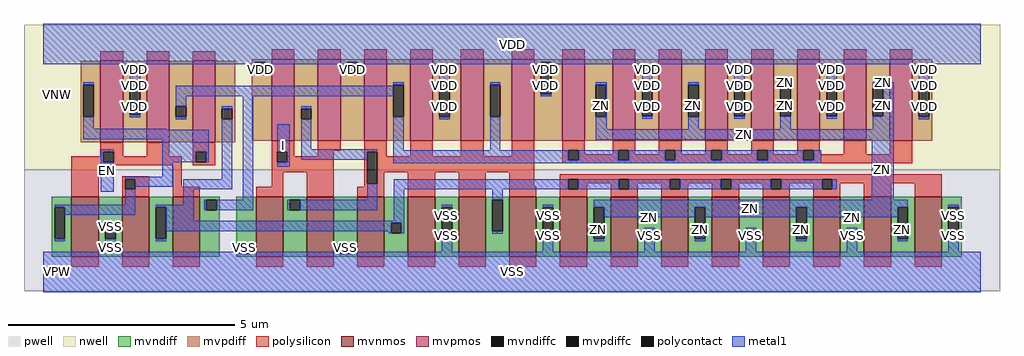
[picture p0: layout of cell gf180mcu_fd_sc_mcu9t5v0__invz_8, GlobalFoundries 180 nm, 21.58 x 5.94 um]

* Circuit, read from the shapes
.subckt gf180mcu_fd_sc_mcu9t5v0__invz_8 EN I ZN VDD VNW VPW VSS
XM1 VSS EN n1 VPW nfet_06v0 w=1.32u l=0.6u
XM2 n2 n1 VSS VPW nfet_06v0 w=1.32u l=0.6u
XM3 n3 EN n2 VPW nfet_06v0 w=1.32u l=0.6u
XM4 n4 I VSS VPW nfet_06v0 w=1.32u l=0.6u m=2
XM5 n2 n4 VSS VPW nfet_06v0 w=1.32u l=0.6u m=4
XM6 ZN n2 VSS VPW nfet_06v0 w=1.32u l=0.6u m=8
XM7 VDD EN n1 VNW pfet_06v0 w=1.8u l=0.5u
XM8 n3 EN VDD VNW pfet_06v0 w=1.8u l=0.5u
XM9 n2 n1 n3 VNW pfet_06v0 w=1.8u l=0.5u
XM10 n4 I VDD VNW pfet_06v0 w=1.8u l=0.5u m=2
XM11 n3 n4 VDD VNW pfet_06v0 w=1.8u l=0.5u m=4
XM12 ZN n3 VDD VNW pfet_06v0 w=1.8u l=0.5u m=8
.ends

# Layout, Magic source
magic
tech gf180mcuD
magscale 1 10
<< nwell >>
rect -86 453 4230 1094
<< pwell >>
rect -86 -86 4230 453
<< mvnmos >>
rect 124 68 244 332
rect 348 68 468 332
rect 572 68 692 332
rect 940 68 1060 332
rect 1164 68 1284 332
rect 1388 68 1508 332
rect 1612 68 1732 332
rect 1836 68 1956 332
rect 2060 68 2180 332
rect 2284 68 2404 332
rect 2508 68 2628 332
rect 2732 68 2852 332
rect 2956 68 3076 332
rect 3180 68 3300 332
rect 3404 68 3524 332
rect 3628 68 3748 332
rect 3852 68 3972 332
<< mvpmos >>
rect 252 573 352 933
rect 456 573 556 933
rect 660 573 760 933
rect 1010 580 1110 940
rect 1214 580 1314 940
rect 1418 580 1518 940
rect 1622 580 1722 940
rect 1846 580 1946 940
rect 2070 580 2170 940
rect 2294 580 2394 940
rect 2518 580 2618 940
rect 2722 580 2822 940
rect 2926 580 3026 940
rect 3130 580 3230 940
rect 3334 580 3434 940
rect 3538 580 3638 940
rect 3742 580 3842 940
<< mvndiff >>
rect 36 287 124 332
rect 36 147 49 287
rect 95 147 124 287
rect 36 68 124 147
rect 244 193 348 332
rect 244 147 273 193
rect 319 147 348 193
rect 244 68 348 147
rect 468 287 572 332
rect 468 147 497 287
rect 543 147 572 287
rect 468 68 572 147
rect 692 319 780 332
rect 692 273 721 319
rect 767 273 780 319
rect 692 68 780 273
rect 852 127 940 332
rect 852 81 865 127
rect 911 81 940 127
rect 852 68 940 81
rect 1060 319 1164 332
rect 1060 273 1089 319
rect 1135 273 1164 319
rect 1060 68 1164 273
rect 1284 127 1388 332
rect 1284 81 1313 127
rect 1359 81 1388 127
rect 1284 68 1388 81
rect 1508 217 1612 332
rect 1508 171 1537 217
rect 1583 171 1612 217
rect 1508 68 1612 171
rect 1732 287 1836 332
rect 1732 147 1761 287
rect 1807 147 1836 287
rect 1732 68 1836 147
rect 1956 319 2060 332
rect 1956 179 1985 319
rect 2031 179 2060 319
rect 1956 68 2060 179
rect 2180 287 2284 332
rect 2180 147 2209 287
rect 2255 147 2284 287
rect 2180 68 2284 147
rect 2404 287 2508 332
rect 2404 147 2433 287
rect 2479 147 2508 287
rect 2404 68 2508 147
rect 2628 185 2732 332
rect 2628 139 2657 185
rect 2703 139 2732 185
rect 2628 68 2732 139
rect 2852 287 2956 332
rect 2852 147 2881 287
rect 2927 147 2956 287
rect 2852 68 2956 147
rect 3076 185 3180 332
rect 3076 139 3105 185
rect 3151 139 3180 185
rect 3076 68 3180 139
rect 3300 287 3404 332
rect 3300 147 3329 287
rect 3375 147 3404 287
rect 3300 68 3404 147
rect 3524 185 3628 332
rect 3524 139 3553 185
rect 3599 139 3628 185
rect 3524 68 3628 139
rect 3748 287 3852 332
rect 3748 147 3777 287
rect 3823 147 3852 287
rect 3748 68 3852 147
rect 3972 287 4060 332
rect 3972 147 4001 287
rect 4047 147 4060 287
rect 3972 68 4060 147
<< mvpdiff >>
rect 164 827 252 933
rect 164 687 177 827
rect 223 687 252 827
rect 164 573 252 687
rect 352 835 456 933
rect 352 695 381 835
rect 427 695 456 835
rect 352 573 456 695
rect 556 733 660 933
rect 556 687 585 733
rect 631 687 660 733
rect 556 573 660 687
rect 760 721 848 933
rect 760 675 789 721
rect 835 675 848 721
rect 760 573 848 675
rect 922 927 1010 940
rect 922 881 935 927
rect 981 881 1010 927
rect 922 580 1010 881
rect 1110 721 1214 940
rect 1110 675 1139 721
rect 1185 675 1214 721
rect 1110 580 1214 675
rect 1314 927 1418 940
rect 1314 881 1343 927
rect 1389 881 1418 927
rect 1314 580 1418 881
rect 1518 827 1622 940
rect 1518 687 1547 827
rect 1593 687 1622 827
rect 1518 580 1622 687
rect 1722 827 1846 940
rect 1722 687 1751 827
rect 1797 687 1846 827
rect 1722 580 1846 687
rect 1946 827 2070 940
rect 1946 687 1975 827
rect 2021 687 2070 827
rect 1946 580 2070 687
rect 2170 927 2294 940
rect 2170 787 2199 927
rect 2245 787 2294 927
rect 2170 580 2294 787
rect 2394 827 2518 940
rect 2394 687 2443 827
rect 2489 687 2518 827
rect 2394 580 2518 687
rect 2618 828 2722 940
rect 2618 688 2647 828
rect 2693 688 2722 828
rect 2618 580 2722 688
rect 2822 827 2926 940
rect 2822 687 2851 827
rect 2897 687 2926 827
rect 2822 580 2926 687
rect 3026 828 3130 940
rect 3026 688 3055 828
rect 3101 688 3130 828
rect 3026 580 3130 688
rect 3230 828 3334 940
rect 3230 688 3259 828
rect 3305 688 3334 828
rect 3230 580 3334 688
rect 3434 828 3538 940
rect 3434 688 3463 828
rect 3509 688 3538 828
rect 3434 580 3538 688
rect 3638 828 3742 940
rect 3638 688 3667 828
rect 3713 688 3742 828
rect 3638 580 3742 688
rect 3842 827 3930 940
rect 3842 687 3871 827
rect 3917 687 3930 827
rect 3842 580 3930 687
<< mvndiffc >>
rect 49 147 95 287
rect 273 147 319 193
rect 497 147 543 287
rect 721 273 767 319
rect 865 81 911 127
rect 1089 273 1135 319
rect 1313 81 1359 127
rect 1537 171 1583 217
rect 1761 147 1807 287
rect 1985 179 2031 319
rect 2209 147 2255 287
rect 2433 147 2479 287
rect 2657 139 2703 185
rect 2881 147 2927 287
rect 3105 139 3151 185
rect 3329 147 3375 287
rect 3553 139 3599 185
rect 3777 147 3823 287
rect 4001 147 4047 287
<< mvpdiffc >>
rect 177 687 223 827
rect 381 695 427 835
rect 585 687 631 733
rect 789 675 835 721
rect 935 881 981 927
rect 1139 675 1185 721
rect 1343 881 1389 927
rect 1547 687 1593 827
rect 1751 687 1797 827
rect 1975 687 2021 827
rect 2199 787 2245 927
rect 2443 687 2489 827
rect 2647 688 2693 828
rect 2851 687 2897 827
rect 3055 688 3101 828
rect 3259 688 3305 828
rect 3463 688 3509 828
rect 3667 688 3713 828
rect 3871 687 3917 827
<< polysilicon >>
rect 252 933 352 977
rect 456 933 556 977
rect 660 933 760 977
rect 1010 940 1110 984
rect 1214 940 1314 984
rect 1418 940 1518 984
rect 1622 940 1722 984
rect 1846 940 1946 984
rect 2070 940 2170 984
rect 2294 940 2394 984
rect 2518 940 2618 984
rect 2722 940 2822 984
rect 2926 940 3026 984
rect 3130 940 3230 984
rect 3334 940 3434 984
rect 3538 940 3638 984
rect 3742 940 3842 984
rect 252 531 352 573
rect 252 512 265 531
rect 124 485 265 512
rect 311 512 352 531
rect 456 512 556 573
rect 660 531 760 573
rect 311 485 612 512
rect 124 472 612 485
rect 660 485 673 531
rect 719 485 760 531
rect 660 472 760 485
rect 1010 531 1110 580
rect 1010 485 1033 531
rect 1079 512 1110 531
rect 1214 536 1314 580
rect 1214 512 1284 536
rect 1079 485 1284 512
rect 124 332 244 472
rect 348 411 468 424
rect 348 365 361 411
rect 407 365 468 411
rect 348 332 468 365
rect 572 376 612 472
rect 1010 440 1284 485
rect 1010 376 1060 440
rect 572 332 692 376
rect 940 332 1060 376
rect 1164 332 1284 440
rect 1418 531 1518 580
rect 1418 391 1431 531
rect 1477 512 1518 531
rect 1622 512 1722 580
rect 1846 512 1946 580
rect 2070 512 2170 580
rect 1477 440 2170 512
rect 2294 539 2394 580
rect 2294 493 2321 539
rect 2367 520 2394 539
rect 2518 539 2618 580
rect 2518 520 2542 539
rect 2367 493 2542 520
rect 2588 520 2618 539
rect 2722 539 2822 580
rect 2722 520 2749 539
rect 2588 493 2749 520
rect 2795 520 2822 539
rect 2926 539 3026 580
rect 2926 520 2953 539
rect 2795 493 2953 520
rect 2999 520 3026 539
rect 3130 539 3230 580
rect 3130 520 3157 539
rect 2999 493 3157 520
rect 3203 520 3230 539
rect 3334 539 3434 580
rect 3334 520 3360 539
rect 3203 493 3360 520
rect 3406 520 3434 539
rect 3538 520 3638 580
rect 3742 520 3842 580
rect 3406 493 3842 520
rect 2294 480 3842 493
rect 1477 391 1508 440
rect 1418 376 1508 391
rect 1388 332 1508 376
rect 1612 332 1732 440
rect 1836 332 1956 440
rect 2060 376 2170 440
rect 2284 411 3972 432
rect 2060 332 2180 376
rect 2284 365 2320 411
rect 2366 392 2543 411
rect 2366 365 2404 392
rect 2284 332 2404 365
rect 2508 365 2543 392
rect 2589 392 2770 411
rect 2589 365 2628 392
rect 2508 332 2628 365
rect 2732 365 2770 392
rect 2816 392 2996 411
rect 2816 365 2852 392
rect 2732 332 2852 365
rect 2956 365 2996 392
rect 3042 392 3217 411
rect 3042 365 3076 392
rect 2956 332 3076 365
rect 3180 365 3217 392
rect 3263 392 3443 411
rect 3263 365 3300 392
rect 3180 332 3300 365
rect 3404 365 3443 392
rect 3489 392 3972 411
rect 3489 365 3524 392
rect 3404 332 3524 365
rect 3628 332 3748 392
rect 3852 332 3972 392
rect 124 24 244 68
rect 348 24 468 68
rect 572 24 692 68
rect 940 24 1060 68
rect 1164 24 1284 68
rect 1388 24 1508 68
rect 1612 24 1732 68
rect 1836 24 1956 68
rect 2060 24 2180 68
rect 2284 24 2404 68
rect 2508 24 2628 68
rect 2732 24 2852 68
rect 2956 24 3076 68
rect 3180 24 3300 68
rect 3404 24 3524 68
rect 3628 24 3748 68
rect 3852 24 3972 68
<< polycontact >>
rect 265 485 311 531
rect 673 485 719 531
rect 1033 485 1079 531
rect 361 365 407 411
rect 1431 391 1477 531
rect 2321 493 2367 539
rect 2542 493 2588 539
rect 2749 493 2795 539
rect 2953 493 2999 539
rect 3157 493 3203 539
rect 3360 493 3406 539
rect 2320 365 2366 411
rect 2543 365 2589 411
rect 2770 365 2816 411
rect 2996 365 3042 411
rect 3217 365 3263 411
rect 3443 365 3489 411
<< metal1 >>
rect 0 927 4144 1098
rect 0 918 935 927
rect 177 827 223 838
rect 177 634 223 687
rect 381 835 427 918
rect 981 918 1343 927
rect 935 870 981 881
rect 1389 918 2199 927
rect 1343 870 1389 881
rect 1547 827 1593 838
rect 381 684 427 695
rect 585 778 1547 824
rect 585 733 631 778
rect 585 676 631 687
rect 789 721 835 732
rect 177 630 545 634
rect 177 588 730 630
rect 254 531 311 542
rect 254 485 265 531
rect 254 354 311 485
rect 526 531 730 588
rect 526 485 673 531
rect 719 485 730 531
rect 526 422 572 485
rect 361 411 572 422
rect 789 411 835 675
rect 407 376 572 411
rect 361 298 407 365
rect 618 365 835 411
rect 618 298 664 365
rect 881 319 927 778
rect 1139 721 1185 732
rect 1033 531 1090 654
rect 1079 485 1090 531
rect 1139 542 1185 675
rect 1139 531 1477 542
rect 1139 496 1431 531
rect 1033 466 1090 485
rect 1547 539 1593 687
rect 1751 827 1797 918
rect 1751 676 1797 687
rect 1975 827 2021 838
rect 2245 918 4144 927
rect 2199 776 2245 787
rect 2443 827 2491 838
rect 1975 539 2021 687
rect 2489 687 2491 827
rect 2443 631 2491 687
rect 2647 828 2693 918
rect 2647 677 2693 688
rect 2851 827 2897 838
rect 2851 631 2897 687
rect 3055 828 3101 918
rect 3055 677 3101 688
rect 3259 828 3305 839
rect 3259 631 3305 688
rect 3463 828 3509 918
rect 3463 677 3509 688
rect 3667 828 3761 839
rect 3713 688 3761 828
rect 3667 631 3761 688
rect 3871 827 3917 918
rect 3871 676 3917 687
rect 2443 585 3761 631
rect 1547 493 2321 539
rect 2367 493 2542 539
rect 2588 493 2749 539
rect 2795 493 2953 539
rect 2999 493 3157 539
rect 3203 493 3360 539
rect 3406 493 3439 539
rect 1547 481 3439 493
rect 1431 319 1477 391
rect 49 287 407 298
rect 95 252 407 287
rect 497 287 664 298
rect 49 136 95 147
rect 273 193 319 204
rect 273 90 319 147
rect 543 227 664 287
rect 710 273 721 319
rect 767 273 927 319
rect 1078 273 1089 319
rect 1135 273 1477 319
rect 1549 365 2320 411
rect 2366 365 2543 411
rect 2589 365 2770 411
rect 2816 365 2996 411
rect 3042 365 3217 411
rect 3263 365 3443 411
rect 3489 365 3507 411
rect 1549 227 1595 365
rect 1985 319 2031 365
rect 3663 319 3761 585
rect 543 217 1595 227
rect 543 181 1537 217
rect 1526 171 1537 181
rect 1583 171 1595 217
rect 1761 287 1807 298
rect 497 136 543 147
rect 1985 168 2031 179
rect 2209 287 2255 298
rect 854 90 865 127
rect 0 81 865 90
rect 911 90 922 127
rect 1302 90 1313 127
rect 911 81 1313 90
rect 1359 90 1370 127
rect 1761 90 1807 147
rect 2209 90 2255 147
rect 2433 287 3823 319
rect 2479 242 2881 287
rect 2433 136 2479 147
rect 2657 185 2703 196
rect 2657 90 2703 139
rect 2927 243 3329 287
rect 2881 136 2927 147
rect 3105 185 3151 196
rect 3105 90 3151 139
rect 3375 242 3777 287
rect 3329 136 3375 147
rect 3553 185 3599 196
rect 3553 90 3599 139
rect 3777 136 3823 147
rect 4001 287 4047 298
rect 4001 90 4047 147
rect 1359 81 4144 90
rect 0 -90 4144 81
<< labels >>
flabel metal1 s 254 354 311 542 0 FreeSans 200 0 0 0 EN
port 1 nsew default input
flabel metal1 s 1033 466 1090 654 0 FreeSans 200 0 0 0 I
port 2 nsew default input
flabel metal1 s 0 918 4144 1098 0 FreeSans 200 0 0 0 VDD
port 4 nsew power bidirectional abutment
flabel metal1 s 4001 204 4047 298 0 FreeSans 200 0 0 0 VSS
port 7 nsew ground bidirectional abutment
flabel metal1 s 3667 838 3761 839 0 FreeSans 200 0 0 0 ZN
port 3 nsew default output
flabel nwell s 10 734 110 834 0 FreeSans 400 0 0 0 VNW
port 5 nsew power bidirectional
flabel pwell s 10 -50 110 50 0 FreeSans 400 0 0 0 VPW
port 6 nsew ground bidirectional
rlabel metal1 s 3259 838 3305 839 1 ZN
port 3 nsew default output
rlabel metal1 s 3667 631 3761 838 1 ZN
port 3 nsew default output
rlabel metal1 s 3259 631 3305 838 1 ZN
port 3 nsew default output
rlabel metal1 s 2851 631 2897 838 1 ZN
port 3 nsew default output
rlabel metal1 s 2443 631 2491 838 1 ZN
port 3 nsew default output
rlabel metal1 s 2443 585 3761 631 1 ZN
port 3 nsew default output
rlabel metal1 s 3663 319 3761 585 1 ZN
port 3 nsew default output
rlabel metal1 s 2433 243 3823 319 1 ZN
port 3 nsew default output
rlabel metal1 s 3329 242 3823 243 1 ZN
port 3 nsew default output
rlabel metal1 s 2433 242 2927 243 1 ZN
port 3 nsew default output
rlabel metal1 s 3777 136 3823 242 1 ZN
port 3 nsew default output
rlabel metal1 s 3329 136 3375 242 1 ZN
port 3 nsew default output
rlabel metal1 s 2881 136 2927 242 1 ZN
port 3 nsew default output
rlabel metal1 s 2433 136 2479 242 1 ZN
port 3 nsew default output
rlabel metal1 s 3871 870 3917 918 1 VDD
port 4 nsew power bidirectional abutment
rlabel metal1 s 3463 870 3509 918 1 VDD
port 4 nsew power bidirectional abutment
rlabel metal1 s 3055 870 3101 918 1 VDD
port 4 nsew power bidirectional abutment
rlabel metal1 s 2647 870 2693 918 1 VDD
port 4 nsew power bidirectional abutment
rlabel metal1 s 2199 870 2245 918 1 VDD
port 4 nsew power bidirectional abutment
rlabel metal1 s 1751 870 1797 918 1 VDD
port 4 nsew power bidirectional abutment
rlabel metal1 s 1343 870 1389 918 1 VDD
port 4 nsew power bidirectional abutment
rlabel metal1 s 935 870 981 918 1 VDD
port 4 nsew power bidirectional abutment
rlabel metal1 s 381 870 427 918 1 VDD
port 4 nsew power bidirectional abutment
rlabel metal1 s 3871 776 3917 870 1 VDD
port 4 nsew power bidirectional abutment
rlabel metal1 s 3463 776 3509 870 1 VDD
port 4 nsew power bidirectional abutment
rlabel metal1 s 3055 776 3101 870 1 VDD
port 4 nsew power bidirectional abutment
rlabel metal1 s 2647 776 2693 870 1 VDD
port 4 nsew power bidirectional abutment
rlabel metal1 s 2199 776 2245 870 1 VDD
port 4 nsew power bidirectional abutment
rlabel metal1 s 1751 776 1797 870 1 VDD
port 4 nsew power bidirectional abutment
rlabel metal1 s 381 776 427 870 1 VDD
port 4 nsew power bidirectional abutment
rlabel metal1 s 3871 684 3917 776 1 VDD
port 4 nsew power bidirectional abutment
rlabel metal1 s 3463 684 3509 776 1 VDD
port 4 nsew power bidirectional abutment
rlabel metal1 s 3055 684 3101 776 1 VDD
port 4 nsew power bidirectional abutment
rlabel metal1 s 2647 684 2693 776 1 VDD
port 4 nsew power bidirectional abutment
rlabel metal1 s 1751 684 1797 776 1 VDD
port 4 nsew power bidirectional abutment
rlabel metal1 s 381 684 427 776 1 VDD
port 4 nsew power bidirectional abutment
rlabel metal1 s 3871 677 3917 684 1 VDD
port 4 nsew power bidirectional abutment
rlabel metal1 s 3463 677 3509 684 1 VDD
port 4 nsew power bidirectional abutment
rlabel metal1 s 3055 677 3101 684 1 VDD
port 4 nsew power bidirectional abutment
rlabel metal1 s 2647 677 2693 684 1 VDD
port 4 nsew power bidirectional abutment
rlabel metal1 s 1751 677 1797 684 1 VDD
port 4 nsew power bidirectional abutment
rlabel metal1 s 3871 676 3917 677 1 VDD
port 4 nsew power bidirectional abutment
rlabel metal1 s 1751 676 1797 677 1 VDD
port 4 nsew power bidirectional abutment
rlabel metal1 s 2209 204 2255 298 1 VSS
port 7 nsew ground bidirectional abutment
rlabel metal1 s 1761 204 1807 298 1 VSS
port 7 nsew ground bidirectional abutment
rlabel metal1 s 4001 196 4047 204 1 VSS
port 7 nsew ground bidirectional abutment
rlabel metal1 s 2209 196 2255 204 1 VSS
port 7 nsew ground bidirectional abutment
rlabel metal1 s 1761 196 1807 204 1 VSS
port 7 nsew ground bidirectional abutment
rlabel metal1 s 273 196 319 204 1 VSS
port 7 nsew ground bidirectional abutment
rlabel metal1 s 4001 127 4047 196 1 VSS
port 7 nsew ground bidirectional abutment
rlabel metal1 s 3553 127 3599 196 1 VSS
port 7 nsew ground bidirectional abutment
rlabel metal1 s 3105 127 3151 196 1 VSS
port 7 nsew ground bidirectional abutment
rlabel metal1 s 2657 127 2703 196 1 VSS
port 7 nsew ground bidirectional abutment
rlabel metal1 s 2209 127 2255 196 1 VSS
port 7 nsew ground bidirectional abutment
rlabel metal1 s 1761 127 1807 196 1 VSS
port 7 nsew ground bidirectional abutment
rlabel metal1 s 273 127 319 196 1 VSS
port 7 nsew ground bidirectional abutment
rlabel metal1 s 4001 90 4047 127 1 VSS
port 7 nsew ground bidirectional abutment
rlabel metal1 s 3553 90 3599 127 1 VSS
port 7 nsew ground bidirectional abutment
rlabel metal1 s 3105 90 3151 127 1 VSS
port 7 nsew ground bidirectional abutment
rlabel metal1 s 2657 90 2703 127 1 VSS
port 7 nsew ground bidirectional abutment
rlabel metal1 s 2209 90 2255 127 1 VSS
port 7 nsew ground bidirectional abutment
rlabel metal1 s 1761 90 1807 127 1 VSS
port 7 nsew ground bidirectional abutment
rlabel metal1 s 1302 90 1370 127 1 VSS
port 7 nsew ground bidirectional abutment
rlabel metal1 s 854 90 922 127 1 VSS
port 7 nsew ground bidirectional abutment
rlabel metal1 s 273 90 319 127 1 VSS
port 7 nsew ground bidirectional abutment
rlabel metal1 s 0 -90 4144 90 1 VSS
port 7 nsew ground bidirectional abutment
<< properties >>
string FIXED_BBOX 0 0 4144 1008
string GDS_END 953598
string GDS_FILE $PDKPATH/libs.ref/gf180mcu_fd_sc_mcu9t5v0/gds/gf180mcu_fd_sc_mcu9t5v0.gds
string GDS_START 943802
string LEFclass core
string LEFsite GF018hv5v_green_sc9
string LEFsymmetry X Y
<< end >>
